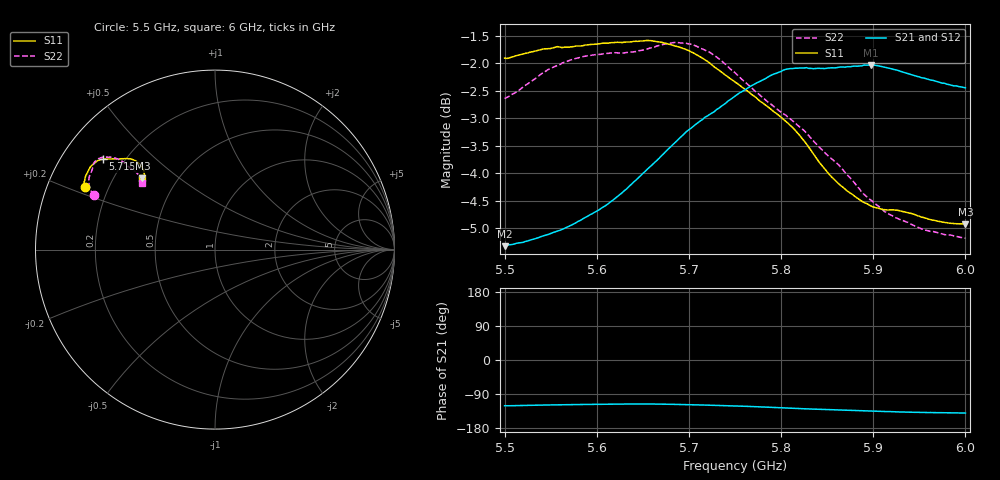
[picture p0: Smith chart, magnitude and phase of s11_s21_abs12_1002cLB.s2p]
! MS46122B
! 1919307/90821646
! 7/29/2022 1:07:42 PM
! C:\USERS\PC_\DESKTOP\MEDICIONES\BANCHA ESTRECHA\55_6GHZ\S11_S21_ABS12_1002CL.S2P
! CHANNEL.1
! TR.MEASUREMENT
! CORRECTED.DATA
# GHZ S RI R 50.0
! FREQ.GHZ  S11RE  S11IM  S21RE  S21IM  S12RE  S12IM  S22RE  S22IM
!; PortSelection: Port_12
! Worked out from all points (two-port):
!   201 points, 5.5 GHz to 6 GHz, reference 50 ohm
!   highest |S21| = -2.03 dB at 5.897 GHz (marker M1); lowest = -5.3 dB at 5.5 GHz (marker M2)
!   |S21| within 3 dB of the highest: 5.561 GHz to end of sweep
!   lowest |S11| = -4.9 dB at 6 GHz (marker M3), VSWR 3.62, Z = 15.9 + j18.6 ohm
!   |S11| at or under -10 dB: nowhere
!   |S22| runs from -5.2 to -1.6 dB; largest |S21 - S12| = 0.017
!   S11 on the Smith chart (normalised r, x): 5.5 GHz: 0.11, +0.22; 5.715 GHz: 0.12, +0.35; 6 GHz: 0.32, +0.37
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5.5  -0.7247 0.3461  -0.2764 -0.4655  -0.2727 -0.4672  -0.6717 0.3051
5.51  -0.7263 0.3489  -0.2756 -0.4687  -0.2686 -0.4695  -0.6788 0.3084
5.5225  -0.7284 0.357  -0.2722 -0.4742  -0.2644 -0.4751  -0.6874 0.3202
5.5475  -0.7284 0.375  -0.266 -0.487  -0.2574 -0.4901  -0.7005 0.3528
5.585  -0.7242 0.3935  -0.264 -0.509  -0.2553 -0.515  -0.7029 0.3935
5.6225  -0.7169 0.4186  -0.2672 -0.5381  -0.2583 -0.5449  -0.695 0.4197
5.645  -0.7027 0.445  -0.2739 -0.5615  -0.2681 -0.5668  -0.6864 0.4403
5.6675  -0.6845 0.4708  -0.2894 -0.5828  -0.283 -0.5893  -0.6791 0.4678
5.6875  -0.6607 0.4905  -0.3089 -0.6012  -0.3035 -0.6069  -0.67 0.4895
5.715  -0.6252 0.5033  -0.3397 -0.6193  -0.3384 -0.6238  -0.6395 0.5105
5.75  -0.5733 0.505  -0.3855 -0.6332  -0.3831 -0.6349  -0.584 0.5153
5.7725  -0.5404 0.5051  -0.4175 -0.6368  -0.4117 -0.6399  -0.5502 0.507
5.7925  -0.5082 0.5061  -0.4481 -0.6346  -0.445 -0.6365  -0.5273 0.4978
5.815  -0.4707 0.5055  -0.4803 -0.6224  -0.4761 -0.623  -0.5071 0.4843
5.835  -0.4365 0.4911  -0.5002 -0.6056  -0.495 -0.605  -0.4871 0.4675
5.85  -0.4176 0.4749  -0.5132 -0.5957  -0.5065 -0.5948  -0.4722 0.4547
5.8625  -0.4085 0.4624  -0.5242 -0.5881  -0.5157 -0.5896  -0.4609 0.4469
5.8975  -0.396 0.4359  -0.5565 -0.5628  -0.5465 -0.5631  -0.4268 0.4162
5.9175  -0.3962 0.4292  -0.5664 -0.5451  -0.5592 -0.5417  -0.4193 0.3989
5.9425  -0.3944 0.4245  -0.5753 -0.5195  -0.5628 -0.5159  -0.4193 0.3805
5.96  -0.3931 0.4168  -0.5765 -0.5072  -0.5605 -0.506  -0.4192 0.3699
6  -0.4045 0.3973  -0.5776 -0.4856  -0.5646 -0.4923  -0.4079 0.3698
